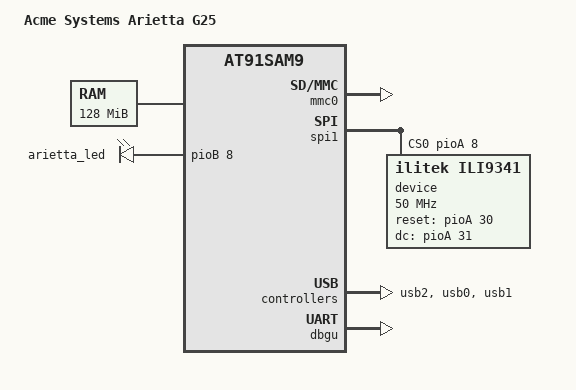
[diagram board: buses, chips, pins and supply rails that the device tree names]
/* acme-arietta.dts - Device Tree file for Arietta G25 */
/dts-v1/;
#include "at91sam9g25.dtsi"
/ {
	model = "Acme Systems Arietta G25";
	compatible = "acme,ariettag25", "atmel,at91sam9x5", "atmel,at91sam9";
	aliases {
		serial0 = &dbgu;
	};
	chosen {
		stdout-path = "serial0:115200n8";
		bootargs = "console=ttyS0,115200 root=/dev/mmcblk0p2 rw rootwait";
	};
	memory {
		reg = <0x20000000 0x8000000>;
	};
	clocks {
		slow_xtal {
			clock-frequency = <32768>;
		};
		main_xtal {
			clock-frequency = <12000000>;
		};
	};
	ahb {
		apb {
			mmc0: mmc@f0008000 {
				pinctrl-0 = <
				  &pinctrl_mmc0_slot0_clk_cmd_dat0
				  &pinctrl_mmc0_slot0_dat1_3>;
				status = "okay";
				slot@0 {
					reg = <0>;
					bus-width = <4>;
				};
			};
			spi1: spi@f0004000 {
				status = "okay";
				cs-gpios = <&pioA 8 0>;

        device@0 {
          rotate = <90>;
          bgr;
          fps = <30>;
          compatible = "ilitek,ili9341";
          spi-max-frequency = <50000000>;
          reg = <0>;
          regwidth = <8>;
          buswidth = <8>;
          verbose = <3>;
          reset-gpios = <&pioA 30 0>;
          dc-gpios = <&pioA 31 0>;
        };
			};

			ssc0: ssc@f0010000 {
				status = "okay";
			};
			usb2: gadget@f803c000 {
				status = "okay";
			};
			dbgu: serial@fffff200 {
				status = "okay";
			};
			pinctrl@fffff400 {
			};
			rtc@fffffeb0 {
				status = "okay";
			};
		};
		usb0: ohci@00600000 {
			status = "okay";
			num-ports = <3>;
		};
		usb1: ehci@00700000 {
			status = "okay";
		};
	};
	leds {
		compatible = "gpio-leds";
		arietta_led {
			label = "arietta_led";
			gpios = <&pioB 8 GPIO_ACTIVE_HIGH>; /* PB8 */
			linux,default-trigger = "heartbeat";

		};
	};
};
/* Generated with http://pinout.acmesystems.it */
